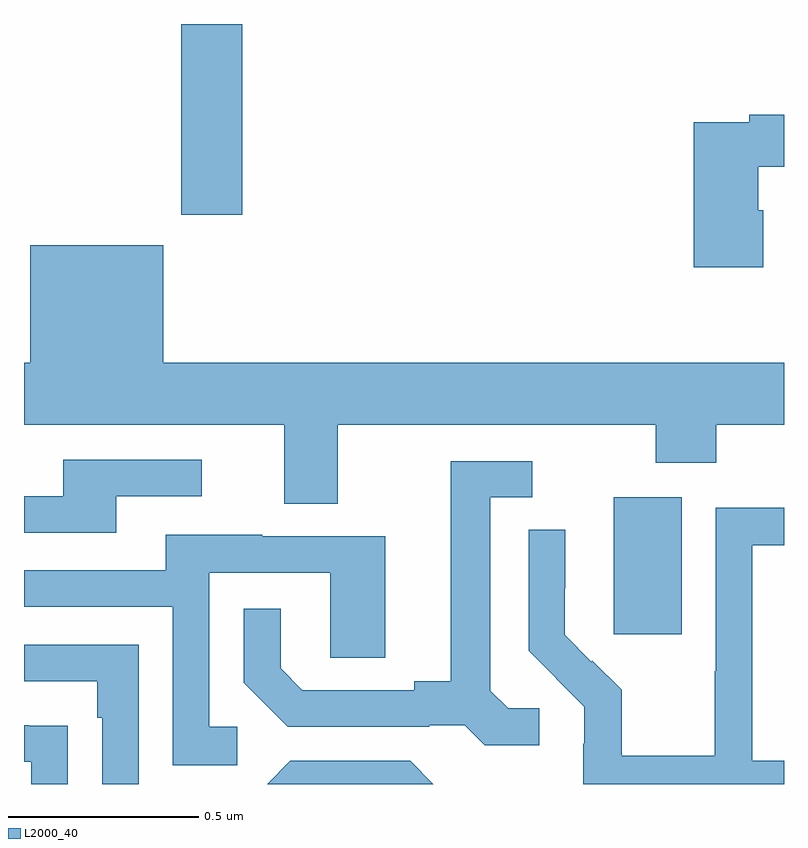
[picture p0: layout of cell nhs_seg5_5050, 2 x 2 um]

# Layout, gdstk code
import gdstk
lib = gdstk.Library(unit=1e-6, precision=1e-09)
def R(c, l, rs):  # rectangles x0, y0, x1, y1
    for r in rs: c.add(gdstk.rectangle(r[:2], r[2:], *l))
def P(c, l, *ps):  # polygons
    for p in ps: c.add(gdstk.Polygon(p, *l))
L2000_40 = (2000, 40)

nhs_seg5_5050 = lib.new_cell('nhs_seg5_5050')
R(nhs_seg5_5050, L2000_40, [(179.552,872.193,179.731,872.554), (178.414,873.297,178.574,873.799)])
P(nhs_seg5_5050, L2000_40, [(179.945,873.309),(179.932,873.309),(179.932,873.424),(180,873.424),(180,873.56),(179.908,873.56),(179.908,873.54),(179.762,873.54),(179.762,873.159),(179.945,873.159)],
  [(178.825,872.744),(179.662,872.744),(179.662,872.645),(179.822,872.645),(179.822,872.744),(180,872.744),(180,872.908),(178.366,872.908),(178.366,873.217),(178.016,873.217),(178.016,872.908),(178,872.908),(178,872.744),(178.685,872.744),(178.685,872.536),(178.825,872.536)],
  [(178.243,872.556),(178.468,872.556),(178.468,872.652),(178.103,872.652),(178.103,872.556),(178,872.556),(178,872.46),(178.243,872.46)],
  [(179.356,871.998),(179.274,871.998),(179.227,872.045),(179.227,872.553),(179.338,872.553),(179.338,872.649),(179.123,872.649),(179.123,872.069),(179.027,872.069),(179.027,872.046),(178.732,872.046),(178.675,872.103),(178.675,872.26),(178.578,872.26),(178.578,872.066),(178.694,871.95),(179.066,871.95),(179.066,871.953),(179.16,871.953),(179.212,871.901),(179.356,871.901)],
  [(180,871.86),(179.916,871.86),(179.916,872.427),(180,872.427),(180,872.526),(179.82,872.526),(179.82,872.096),(179.818,872.096),(179.818,871.873),(179.573,871.873),(179.573,872.047),(179.496,872.124),(179.493,872.121),(179.423,872.192),(179.423,872.314),(179.424,872.314),(179.424,872.468),(179.328,872.468),(179.328,872.15),(179.401,872.077),(179.4,872.076),(179.474,872.002),(179.474,871.905),(179.472,871.905),(179.472,871.799),(180,871.799)],
  [(178.561,871.95),(178.488,871.95),(178.488,872.355),(178.806,872.355),(178.806,872.131),(178.951,872.131),(178.951,872.451),(178.627,872.451),(178.627,872.455),(178.373,872.455),(178.373,872.361),(178,872.361),(178,872.265),(178.392,872.265),(178.392,871.849),(178.561,871.849)],
  [(178.302,872.166),(178,872.166),(178,872.07),(178.193,872.07),(178.193,871.973),(178.206,871.973),(178.206,871.799),(178.302,871.799)],
  [(178.115,871.952),(178.013,871.952),(178.013,871.953),(178,871.953),(178,871.857),(178.019,871.857),(178.019,871.799),(178.115,871.799)],
  [(179.016,871.86),(178.701,871.86),(178.64,871.799),(179.077,871.799)])

lib.write_gds('nhs_seg5_5050.gds')
